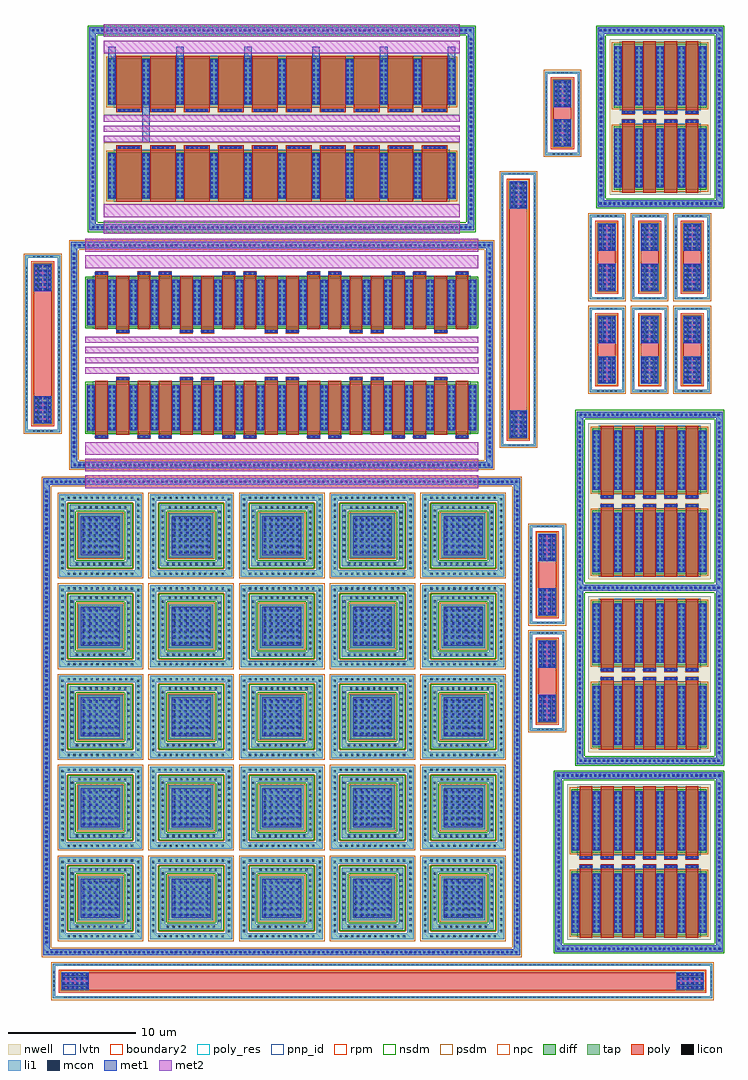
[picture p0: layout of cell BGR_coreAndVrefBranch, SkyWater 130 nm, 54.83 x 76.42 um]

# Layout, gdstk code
from math import pi, radians
import gdstk
lib = gdstk.Library(unit=1e-6, precision=5e-09)
def R(c, l, rs):  # rectangles x0, y0, x1, y1
    for r in rs: c.add(gdstk.rectangle(r[:2], r[2:], *l))
def A(c, l, x, y, w, h, nx, ny, dx, dy):  # array of equal rectangles
    R(c, l, [(x+i*dx, y+j*dy, x+i*dx+w, y+j*dy+h) for i in range(nx) for j in range(ny)])
def P(c, l, *ps):  # polygons
    for p in ps: c.add(gdstk.Polygon(p, *l))
nwell = (64, 20)
diff = (65, 20)
tap = (65, 44)
poly_res = (66, 13)
poly = (66, 20)
licon = (66, 44)
li1 = (67, 20)
mcon = (67, 44)
met1 = (68, 20)
met2 = (69, 20)
pnp_id = (82, 44)
rpm = (86, 20)
nsdm = (93, 44)
psdm = (94, 20)
npc = (95, 20)
lvtn = (125, 44)
boundary2 = (236, 0)

guard_ring_gen_12 = lib.new_cell('guard_ring_gen$12')
P(guard_ring_gen_12, tap, [(-0.5,-0.5),(-0.5,36.35),(0,36.35),(0,0),(36.35,0),(36.35,36.35),(-0.5,36.35),(-0.5,36.85),(36.85,36.85),(36.85,-0.5)])
A(guard_ring_gen_12, licon, -0.27, -0.335, 0.17, 0.17, 103, 2, 0.36, 36.85)
A(guard_ring_gen_12, licon, -0.335, 0.45, 0.17, 0.17, 1, 99, 0, 0.36)
A(guard_ring_gen_12, licon, 36.515, 0.45, 0.17, 0.17, 1, 99, 0, 0.36)
P(guard_ring_gen_12, li1, [(-0.5,-0.5),(-0.5,36.35),(0,36.35),(0,0),(36.35,0),(36.35,36.35),(-0.5,36.35),(-0.5,36.85),(36.85,36.85),(36.85,-0.5)])
A(guard_ring_gen_12, mcon, -0.27, -0.335, 0.17, 0.17, 103, 2, 0.36, 36.85)
A(guard_ring_gen_12, mcon, -0.335, 0.45, 0.17, 0.17, 1, 99, 0, 0.36)
A(guard_ring_gen_12, mcon, 36.515, 0.45, 0.17, 0.17, 1, 99, 0, 0.36)
P(guard_ring_gen_12, met1, [(-0.5,-0.5),(-0.5,36.35),(0,36.35),(0,0),(36.35,0),(36.35,36.35),(-0.5,36.35),(-0.5,36.85),(36.85,36.85),(36.85,-0.5)])
P(guard_ring_gen_12, psdm, [(-0.625,-0.625),(-0.625,36.225),(0.125,36.225),(0.125,0.125),(36.225,0.125),(36.225,36.225),(-0.625,36.225),(-0.625,36.975),(36.975,36.975),(36.975,-0.625)])

pfet = lib.new_cell('pfet')
R(pfet, nwell, [(-0.305,-0.38,2.625,5.72)])
R(pfet, diff, [(0,0,2.32,5)])
R(pfet, poly, [(0.66,-0.2,1.66,5.2), (0.66,5.2,1.66,5.53)])
A(pfet, licon, 0.065, 0.255, 0.17, 0.17, 1, 13, 0, 0.36)
A(pfet, licon, 0.425, 0.255, 0.17, 0.17, 1, 13, 0, 0.36)
A(pfet, licon, 1.725, 0.255, 0.17, 0.17, 1, 13, 0, 0.36)
A(pfet, licon, 2.085, 0.255, 0.17, 0.17, 1, 13, 0, 0.36)
A(pfet, licon, 0.715, 5.28, 0.17, 0.17, 3, 1, 0.36, 0)
R(pfet, li1, [(0.065,0.175,0.595,4.825), (1.725,0.175,2.255,4.825), (0.635,5.28,1.685,5.45)])
A(pfet, mcon, 0.065, 0.255, 0.17, 0.17, 1, 13, 0, 0.36)
A(pfet, mcon, 0.425, 0.255, 0.17, 0.17, 1, 13, 0, 0.36)
A(pfet, mcon, 1.725, 0.255, 0.17, 0.17, 1, 13, 0, 0.36)
A(pfet, mcon, 2.085, 0.255, 0.17, 0.17, 1, 13, 0, 0.36)
A(pfet, mcon, 0.715, 5.28, 0.17, 0.17, 3, 1, 0.36, 0)
R(pfet, met1, [(0.035,0.195,0.625,4.805), (1.695,0.195,2.285,4.805), (0.655,5.25,1.665,5.48)])
R(pfet, psdm, [(-0.125,-0.125,2.445,5.125)])
R(pfet, npc, [(0.65,5.19,1.67,5.54)])
R(pfet, lvtn, [(0.48,-0.18,1.84,5.18)])

res_poly_4 = lib.new_cell('res_poly$4')
R(res_poly_4, tap, [(-1.355,-25.81,1.355,-25.64), (-1.355,-25.64,-1.185,25.64), (1.185,-25.64,1.355,25.64), (-1.355,25.64,1.355,25.81)])
R(res_poly_4, poly_res, [(-0.705,-23.06,0.705,23.06)])
R(res_poly_4, poly, [(-0.705,-25.16,0.705,25.16)])
A(res_poly_4, licon, -0.765, -25.81, 0.17, 0.17, 5, 2, 0.34, 51.45)
A(res_poly_4, licon, -1.355, -24.905, 0.17, 0.17, 1, 147, 0, 0.34)
A(res_poly_4, licon, 1.185, -24.905, 0.17, 0.17, 1, 147, 0, 0.34)
R(res_poly_4, licon, [(-0.45,-25.08,-0.26,-23.08), (0.26,-25.08,0.45,-23.08), (-0.45,23.08,-0.26,25.08), (0.26,23.08,0.45,25.08)])
R(res_poly_4, li1, [(-1.355,-25.81,1.355,-25.64), (-1.355,-25.64,-1.185,25.64), (1.185,-25.64,1.355,25.64), (-0.705,-25.16,0.705,-23), (-0.705,23,0.705,25.16), (-1.355,25.64,1.355,25.81)])
A(res_poly_4, mcon, -0.625, -25.06, 0.17, 0.17, 4, 6, 0.36, 0.36)
A(res_poly_4, mcon, -0.625, 23.095, 0.17, 0.17, 4, 6, 0.36, 0.36)
R(res_poly_4, met1, [(-0.655,-25.13,0.655,-23.025), (-0.655,23.025,0.655,25.13)])
R(res_poly_4, rpm, [(-0.905,-25.36,0.905,25.36)])
R(res_poly_4, psdm, [(-1.48,-25.935,1.48,25.935)])
R(res_poly_4, npc, [(-0.8,-25.255,0.8,25.255)])

pfet_3 = lib.new_cell('pfet$3')
R(pfet_3, nwell, [(-0.305,-0.38,3.625,4.42)])
R(pfet_3, diff, [(0,0,3.32,3.7)])
R(pfet_3, poly, [(0.66,-0.2,2.66,3.9), (0.66,3.9,2.66,4.23)])
A(pfet_3, licon, 0.065, 0.145, 0.17, 0.17, 1, 10, 0, 0.36)
A(pfet_3, licon, 0.425, 0.145, 0.17, 0.17, 1, 10, 0, 0.36)
A(pfet_3, licon, 2.725, 0.145, 0.17, 0.17, 1, 10, 0, 0.36)
A(pfet_3, licon, 3.085, 0.145, 0.17, 0.17, 1, 10, 0, 0.36)
A(pfet_3, licon, 0.855, 3.98, 0.17, 0.17, 5, 1, 0.36, 0)
R(pfet_3, li1, [(0.065,0.065,0.595,3.635), (2.725,0.065,3.255,3.635), (0.775,3.98,2.545,4.15)])
A(pfet_3, mcon, 0.065, 0.145, 0.17, 0.17, 1, 10, 0, 0.36)
A(pfet_3, mcon, 0.425, 0.145, 0.17, 0.17, 1, 10, 0, 0.36)
A(pfet_3, mcon, 2.725, 0.145, 0.17, 0.17, 1, 10, 0, 0.36)
A(pfet_3, mcon, 3.085, 0.145, 0.17, 0.17, 1, 10, 0, 0.36)
A(pfet_3, mcon, 0.855, 3.98, 0.17, 0.17, 5, 1, 0.36, 0)
R(pfet_3, met1, [(0.035,0.085,0.625,3.615), (2.695,0.085,3.285,3.615), (0.795,3.95,2.525,4.18)])
R(pfet_3, psdm, [(-0.125,-0.125,3.445,3.825)])
R(pfet_3, npc, [(0.65,3.89,2.67,4.24)])
R(pfet_3, lvtn, [(0.48,-0.18,2.84,3.88)])

nfet = lib.new_cell('nfet')
R(nfet, diff, [(0,0,2.32,3.8)])
R(nfet, poly, [(0.66,-0.53,1.66,-0.2), (0.66,-0.2,1.66,4)])
A(nfet, licon, 0.715, -0.45, 0.17, 0.17, 3, 1, 0.36, 0)
A(nfet, licon, 0.065, 0.195, 0.17, 0.17, 1, 10, 0, 0.36)
A(nfet, licon, 0.425, 0.195, 0.17, 0.17, 1, 10, 0, 0.36)
A(nfet, licon, 1.725, 0.195, 0.17, 0.17, 1, 10, 0, 0.36)
A(nfet, licon, 2.085, 0.195, 0.17, 0.17, 1, 10, 0, 0.36)
R(nfet, li1, [(0.635,-0.45,1.685,-0.28), (0.065,0.115,0.595,3.685), (1.725,0.115,2.255,3.685)])
A(nfet, mcon, 0.715, -0.45, 0.17, 0.17, 3, 1, 0.36, 0)
A(nfet, mcon, 0.065, 0.195, 0.17, 0.17, 1, 10, 0, 0.36)
A(nfet, mcon, 0.425, 0.195, 0.17, 0.17, 1, 10, 0, 0.36)
A(nfet, mcon, 1.725, 0.195, 0.17, 0.17, 1, 10, 0, 0.36)
A(nfet, mcon, 2.085, 0.195, 0.17, 0.17, 1, 10, 0, 0.36)
R(nfet, met1, [(0.655,-0.48,1.665,-0.25), (0.035,0.135,0.625,3.665), (1.695,0.135,2.285,3.665)])
R(nfet, nsdm, [(-0.125,-0.125,2.445,3.925)])
R(nfet, npc, [(0.65,-0.54,1.67,-0.19)])
R(nfet, lvtn, [(0.48,-0.18,1.84,3.98)])

guard_ring_gen = lib.new_cell('guard_ring_gen')
P(guard_ring_gen, tap, [(-0.5,-0.5),(-0.5,14.915),(0,14.915),(0,0),(29.12,0),(29.12,14.915),(-0.5,14.915),(-0.5,15.415),(29.62,15.415),(29.62,-0.5)])
A(guard_ring_gen, licon, -0.285, -0.335, 0.17, 0.17, 83, 2, 0.36, 15.415)
A(guard_ring_gen, licon, -0.335, 0.355, 0.17, 0.17, 1, 40, 0, 0.36)
A(guard_ring_gen, licon, 29.285, 0.355, 0.17, 0.17, 1, 40, 0, 0.36)
P(guard_ring_gen, li1, [(-0.5,-0.5),(-0.5,14.915),(0,14.915),(0,0),(29.12,0),(29.12,14.915),(-0.5,14.915),(-0.5,15.415),(29.62,15.415),(29.62,-0.5)])
A(guard_ring_gen, mcon, -0.285, -0.335, 0.17, 0.17, 83, 2, 0.36, 15.415)
A(guard_ring_gen, mcon, -0.335, 0.355, 0.17, 0.17, 1, 40, 0, 0.36)
A(guard_ring_gen, mcon, 29.285, 0.355, 0.17, 0.17, 1, 40, 0, 0.36)
P(guard_ring_gen, met1, [(-0.5,-0.5),(-0.5,14.915),(0,14.915),(0,0),(29.12,0),(29.12,14.915),(-0.5,14.915),(-0.5,15.415),(29.62,15.415),(29.62,-0.5)])
P(guard_ring_gen, nsdm, [(-0.625,-0.625),(-0.625,14.79),(0.125,14.79),(0.125,0.125),(28.995,0.125),(28.995,14.79),(-0.625,14.79),(-0.625,15.54),(29.745,15.54),(29.745,-0.625)])

guard_ring_gen_11 = lib.new_cell('guard_ring_gen$11')
P(guard_ring_gen_11, tap, [(-0.5,-0.5),(-0.5,16.715),(0,16.715),(0,0),(32.04,0),(32.04,16.715),(-0.5,16.715),(-0.5,17.215),(32.54,17.215),(32.54,-0.5)])
A(guard_ring_gen_11, licon, -0.265, -0.335, 0.17, 0.17, 91, 2, 0.36, 17.215)
A(guard_ring_gen_11, licon, -0.335, 0.355, 0.17, 0.17, 1, 45, 0, 0.36)
A(guard_ring_gen_11, licon, 32.205, 0.355, 0.17, 0.17, 1, 45, 0, 0.36)
P(guard_ring_gen_11, li1, [(-0.5,-0.5),(-0.5,16.715),(0,16.715),(0,0),(32.04,0),(32.04,16.715),(-0.5,16.715),(-0.5,17.215),(32.54,17.215),(32.54,-0.5)])
A(guard_ring_gen_11, mcon, -0.265, -0.335, 0.17, 0.17, 91, 2, 0.36, 17.215)
A(guard_ring_gen_11, mcon, -0.335, 0.355, 0.17, 0.17, 1, 45, 0, 0.36)
A(guard_ring_gen_11, mcon, 32.205, 0.355, 0.17, 0.17, 1, 45, 0, 0.36)
P(guard_ring_gen_11, met1, [(-0.5,-0.5),(-0.5,16.715),(0,16.715),(0,0),(32.04,0),(32.04,16.715),(-0.5,16.715),(-0.5,17.215),(32.54,17.215),(32.54,-0.5)])
P(guard_ring_gen_11, psdm, [(-0.625,-0.625),(-0.625,16.59),(0.125,16.59),(0.125,0.125),(31.915,0.125),(31.915,16.59),(-0.625,16.59),(-0.625,17.34),(32.665,17.34),(32.665,-0.625)])

pnp_bjt = lib.new_cell('pnp_bjt')
R(pnp_bjt, nwell, [(0.765,0.765,5.935,5.935)])
R(pnp_bjt, diff, [(1.65,1.65,5.05,5.05)])
P(pnp_bjt, tap, [(0.945,0.945),(0.945,5.755),(5.395,5.755),(5.395,5.395),(1.305,5.395),(1.305,1.305),(5.395,1.305),(5.395,5.755),(5.755,5.755),(5.755,0.945)],
  [(0.13,0.13),(0.13,6.57),(6.065,6.57),(6.065,6.065),(0.635,6.065),(0.635,0.635),(6.065,0.635),(6.065,6.57),(6.57,6.57),(6.57,0.13)])
A(pnp_bjt, licon, 0.78, 0.29, 0.17, 0.17, 12, 2, 0.45, 5.935)
A(pnp_bjt, licon, 0.3, 0.71, 0.17, 0.17, 1, 13, 0, 0.45)
A(pnp_bjt, licon, 6.235, 0.71, 0.17, 0.17, 1, 13, 0, 0.45)
A(pnp_bjt, licon, 1.43, 1.04, 0.17, 0.17, 9, 1, 0.45, 0)
A(pnp_bjt, licon, 5.49, 1.51, 0.17, 0.17, 1, 9, 0, 0.45)
A(pnp_bjt, licon, 1.04, 1.605, 0.17, 0.17, 1, 9, 0, 0.45)
A(pnp_bjt, licon, 1.92, 1.92, 0.17, 0.17, 7, 7, 0.45, 0.45)
A(pnp_bjt, licon, 1.6, 5.49, 0.17, 0.17, 9, 1, 0.45, 0)
A(pnp_bjt, li1, 0.58, 0.21, 0.33, 0.33, 12, 1, 0.45, 0)
A(pnp_bjt, li1, 0.675, 0.24, 0.27, 0.27, 11, 2, 0.5, 5.96)
A(pnp_bjt, li1, 6.16, 0.54, 0.33, 0.33, 1, 13, 0, 0.45)
A(pnp_bjt, li1, 0.22, 0.63, 0.33, 0.33, 1, 13, 0, 0.45)
A(pnp_bjt, li1, 1.35, 0.96, 0.33, 0.33, 9, 1, 0.45, 0)
A(pnp_bjt, li1, 1.14, 0.985, 0.27, 0.27, 9, 1, 0.5, 0)
A(pnp_bjt, li1, 5.41, 1.43, 0.33, 0.33, 1, 9, 0, 0.45)
A(pnp_bjt, li1, 0.96, 1.525, 0.33, 0.33, 1, 9, 0, 0.45)
A(pnp_bjt, li1, 1.84, 1.84, 0.33, 0.33, 7, 7, 0.45, 0.45)
A(pnp_bjt, li1, 1.93, 1.93, 0.27, 0.27, 6, 6, 0.5, 0.5)
A(pnp_bjt, li1, 1.52, 5.41, 0.33, 0.33, 9, 1, 0.45, 0)
A(pnp_bjt, li1, 1.155, 5.44, 0.27, 0.27, 9, 1, 0.5, 0)
A(pnp_bjt, li1, 0.7, 6.165, 0.33, 0.33, 12, 1, 0.45, 0)
R(pnp_bjt, li1, [(1.615,1.615,5.085,5.085), (1.65,1.65,5.05,5.05)])
P(pnp_bjt, li1, [(0.13,0.13),(0.13,6.57),(6.075,6.57),(6.075,6.075),(0.625,6.075),(0.625,0.625),(6.075,0.625),(6.075,6.57),(6.57,6.57),(6.57,0.13)],
  [(0.945,0.945),(0.945,5.755),(5.395,5.755),(5.395,5.395),(1.305,5.395),(1.305,1.305),(5.395,1.305),(5.395,5.755),(5.755,5.755),(5.755,0.945)])
A(pnp_bjt, mcon, 1.98, 1.98, 0.17, 0.17, 6, 6, 0.5, 0.5)
A(pnp_bjt, met1, 1.93, 1.93, 0.27, 0.27, 6, 6, 0.5, 0.5)
R(pnp_bjt, met1, [(1.825,1.825,4.875,4.875)])
R(pnp_bjt, pnp_id, [(0.135,0.135,6.565,6.565)])
P(pnp_bjt, nsdm, [(0.805,0.805),(0.805,5.895),(5.265,5.895),(5.265,5.265),(1.435,5.265),(1.435,1.435),(5.265,1.435),(5.265,5.895),(5.895,5.895),(5.895,0.805)])
R(pnp_bjt, psdm, [(1.52,1.52,5.18,5.18)])
P(pnp_bjt, psdm, [(0,0),(0,6.7),(5.935,6.7),(5.935,5.935),(0.765,5.935),(0.765,0.765),(5.935,0.765),(5.935,6.7),(6.7,6.7),(6.7,0)])
R(pnp_bjt, boundary2, [(0.13,0.13,6.57,6.57)])
pnp_bjt.add(gdstk.Label('Emitter', (3.39,3.39), layer=67, texttype=5))
pnp_bjt.add(gdstk.Label('Collector', (3.32,6.38), layer=67, texttype=5))
pnp_bjt.add(gdstk.Label('Base', (3.245,5.61), layer=67, texttype=5))

guard_ring_gen_3 = lib.new_cell('guard_ring_gen$3')
P(guard_ring_gen_3, tap, [(-0.5,-0.5),(-0.5,13.05),(0,13.05),(0,0),(10.42,0),(10.42,13.05),(-0.5,13.05),(-0.5,13.55),(10.92,13.55),(10.92,-0.5)])
A(guard_ring_gen_3, licon, -0.275, -0.335, 0.17, 0.17, 31, 2, 0.36, 13.55)
A(guard_ring_gen_3, licon, -0.335, 0.32, 0.17, 0.17, 1, 35, 0, 0.36)
A(guard_ring_gen_3, licon, 10.585, 0.32, 0.17, 0.17, 1, 35, 0, 0.36)
P(guard_ring_gen_3, li1, [(-0.5,-0.5),(-0.5,13.05),(0,13.05),(0,0),(10.42,0),(10.42,13.05),(-0.5,13.05),(-0.5,13.55),(10.92,13.55),(10.92,-0.5)])
A(guard_ring_gen_3, mcon, -0.275, -0.335, 0.17, 0.17, 31, 2, 0.36, 13.55)
A(guard_ring_gen_3, mcon, -0.335, 0.32, 0.17, 0.17, 1, 35, 0, 0.36)
A(guard_ring_gen_3, mcon, 10.585, 0.32, 0.17, 0.17, 1, 35, 0, 0.36)
P(guard_ring_gen_3, met1, [(-0.5,-0.5),(-0.5,13.05),(0,13.05),(0,0),(10.42,0),(10.42,13.05),(-0.5,13.05),(-0.5,13.55),(10.92,13.55),(10.92,-0.5)])
P(guard_ring_gen_3, nsdm, [(-0.625,-0.625),(-0.625,12.925),(0.125,12.925),(0.125,0.125),(10.295,0.125),(10.295,12.925),(-0.625,12.925),(-0.625,13.675),(11.045,13.675),(11.045,-0.625)])

res_poly_13 = lib.new_cell('res_poly$13')
R(res_poly_13, tap, [(-1.355,-10.71,1.355,-10.54), (-1.355,-10.54,-1.185,10.54), (1.185,-10.54,1.355,10.54), (-1.355,10.54,1.355,10.71)])
R(res_poly_13, poly_res, [(-0.705,-7.96,0.705,7.96)])
R(res_poly_13, poly, [(-0.705,-10.06,0.705,10.06)])
A(res_poly_13, licon, -0.765, -10.71, 0.17, 0.17, 5, 2, 0.34, 21.25)
A(res_poly_13, licon, -1.355, -9.945, 0.17, 0.17, 1, 59, 0, 0.34)
A(res_poly_13, licon, 1.185, -9.945, 0.17, 0.17, 1, 59, 0, 0.34)
R(res_poly_13, licon, [(-0.45,-9.98,-0.26,-7.98), (0.26,-9.98,0.45,-7.98), (-0.45,7.98,-0.26,9.98), (0.26,7.98,0.45,9.98)])
R(res_poly_13, li1, [(-1.355,-10.71,1.355,-10.54), (-1.355,-10.54,-1.185,10.54), (1.185,-10.54,1.355,10.54), (-0.705,-10.06,0.705,-7.9), (-0.705,7.9,0.705,10.06), (-1.355,10.54,1.355,10.71)])
A(res_poly_13, mcon, -0.625, -9.96, 0.17, 0.17, 4, 6, 0.36, 0.36)
A(res_poly_13, mcon, -0.625, 7.995, 0.17, 0.17, 4, 6, 0.36, 0.36)
R(res_poly_13, met1, [(-0.655,-10.03,0.655,-7.925), (-0.655,7.925,0.655,10.03)])
R(res_poly_13, rpm, [(-0.905,-10.26,0.905,10.26)])
R(res_poly_13, psdm, [(-1.48,-10.835,1.48,10.835)])
R(res_poly_13, npc, [(-0.8,-10.155,0.8,10.155)])

nfet_1 = lib.new_cell('nfet$1')
R(nfet_1, diff, [(0,0,2.32,3.8)])
R(nfet_1, poly, [(0.66,-0.2,1.66,4), (0.66,4,1.66,4.33)])
A(nfet_1, licon, 0.065, 0.195, 0.17, 0.17, 1, 10, 0, 0.36)
A(nfet_1, licon, 0.425, 0.195, 0.17, 0.17, 1, 10, 0, 0.36)
A(nfet_1, licon, 1.725, 0.195, 0.17, 0.17, 1, 10, 0, 0.36)
A(nfet_1, licon, 2.085, 0.195, 0.17, 0.17, 1, 10, 0, 0.36)
A(nfet_1, licon, 0.715, 4.08, 0.17, 0.17, 3, 1, 0.36, 0)
R(nfet_1, li1, [(0.065,0.115,0.595,3.685), (1.725,0.115,2.255,3.685), (0.635,4.08,1.685,4.25)])
A(nfet_1, mcon, 0.065, 0.195, 0.17, 0.17, 1, 10, 0, 0.36)
A(nfet_1, mcon, 0.425, 0.195, 0.17, 0.17, 1, 10, 0, 0.36)
A(nfet_1, mcon, 1.725, 0.195, 0.17, 0.17, 1, 10, 0, 0.36)
A(nfet_1, mcon, 2.085, 0.195, 0.17, 0.17, 1, 10, 0, 0.36)
A(nfet_1, mcon, 0.715, 4.08, 0.17, 0.17, 3, 1, 0.36, 0)
R(nfet_1, met1, [(0.035,0.135,0.625,3.665), (1.695,0.135,2.285,3.665), (0.655,4.05,1.665,4.28)])
R(nfet_1, nsdm, [(-0.125,-0.125,2.445,3.925)])
R(nfet_1, npc, [(0.65,3.99,1.67,4.34)])
R(nfet_1, lvtn, [(0.48,-0.18,1.84,3.98)])

res_poly = lib.new_cell('res_poly')
R(res_poly, tap, [(-1.355,-3.27,1.355,-3.1), (-1.355,-3.1,-1.185,3.1), (1.185,-3.1,1.355,3.1), (-1.355,3.1,1.355,3.27)])
R(res_poly, poly_res, [(-0.705,-0.52,0.705,0.52)])
R(res_poly, poly, [(-0.705,-2.62,0.705,2.62)])
A(res_poly, licon, -0.765, -3.27, 0.17, 0.17, 5, 2, 0.34, 6.37)
A(res_poly, licon, -1.355, -2.465, 0.17, 0.17, 1, 15, 0, 0.34)
A(res_poly, licon, 1.185, -2.465, 0.17, 0.17, 1, 15, 0, 0.34)
R(res_poly, licon, [(-0.45,-2.54,-0.26,-0.54), (0.26,-2.54,0.45,-0.54), (-0.45,0.54,-0.26,2.54), (0.26,0.54,0.45,2.54)])
R(res_poly, li1, [(-1.355,-3.27,1.355,-3.1), (-1.355,-3.1,-1.185,3.1), (1.185,-3.1,1.355,3.1), (-0.705,-2.62,0.705,-0.46), (-0.705,0.46,0.705,2.62), (-1.355,3.1,1.355,3.27)])
A(res_poly, mcon, -0.625, -2.52, 0.17, 0.17, 4, 6, 0.36, 0.36)
A(res_poly, mcon, -0.625, 0.555, 0.17, 0.17, 4, 6, 0.36, 0.36)
R(res_poly, met1, [(-0.655,-2.59,0.655,-0.485), (-0.655,0.485,0.655,2.59)])
R(res_poly, rpm, [(-0.905,-2.82,0.905,2.82)])
R(res_poly, psdm, [(-1.48,-3.395,1.48,3.395)])
R(res_poly, npc, [(-0.8,-2.715,0.8,2.715)])

guard_ring_gen_1 = lib.new_cell('guard_ring_gen$1')
P(guard_ring_gen_1, tap, [(-0.5,-0.5),(-0.5,13.05),(0,13.05),(0,0),(8.76,0),(8.76,13.05),(-0.5,13.05),(-0.5,13.55),(9.26,13.55),(9.26,-0.5)])
A(guard_ring_gen_1, licon, -0.385, -0.335, 0.17, 0.17, 27, 2, 0.36, 13.55)
A(guard_ring_gen_1, licon, -0.335, 0.32, 0.17, 0.17, 1, 35, 0, 0.36)
A(guard_ring_gen_1, licon, 8.925, 0.32, 0.17, 0.17, 1, 35, 0, 0.36)
P(guard_ring_gen_1, li1, [(-0.5,-0.5),(-0.5,13.05),(0,13.05),(0,0),(8.76,0),(8.76,13.05),(-0.5,13.05),(-0.5,13.55),(9.26,13.55),(9.26,-0.5)])
A(guard_ring_gen_1, mcon, -0.385, -0.335, 0.17, 0.17, 27, 2, 0.36, 13.55)
A(guard_ring_gen_1, mcon, -0.335, 0.32, 0.17, 0.17, 1, 35, 0, 0.36)
A(guard_ring_gen_1, mcon, 8.925, 0.32, 0.17, 0.17, 1, 35, 0, 0.36)
P(guard_ring_gen_1, met1, [(-0.5,-0.5),(-0.5,13.05),(0,13.05),(0,0),(8.76,0),(8.76,13.05),(-0.5,13.05),(-0.5,13.55),(9.26,13.55),(9.26,-0.5)])
P(guard_ring_gen_1, nsdm, [(-0.625,-0.625),(-0.625,12.925),(0.125,12.925),(0.125,0.125),(8.635,0.125),(8.635,12.925),(-0.625,12.925),(-0.625,13.675),(9.385,13.675),(9.385,-0.625)])

res_poly_1 = lib.new_cell('res_poly$1')
R(res_poly_1, tap, [(-1.355,-3.31,1.355,-3.14), (-1.355,-3.14,-1.185,3.14), (1.185,-3.14,1.355,3.14), (-1.355,3.14,1.355,3.31)])
R(res_poly_1, poly_res, [(-0.705,-0.56,0.705,0.56)])
R(res_poly_1, poly, [(-0.705,-2.66,0.705,2.66)])
A(res_poly_1, licon, -0.765, -3.31, 0.17, 0.17, 5, 2, 0.34, 6.45)
A(res_poly_1, licon, -1.355, -2.465, 0.17, 0.17, 1, 15, 0, 0.34)
A(res_poly_1, licon, 1.185, -2.465, 0.17, 0.17, 1, 15, 0, 0.34)
R(res_poly_1, licon, [(-0.45,-2.58,-0.26,-0.58), (0.26,-2.58,0.45,-0.58), (-0.45,0.58,-0.26,2.58), (0.26,0.58,0.45,2.58)])
R(res_poly_1, li1, [(-1.355,-3.31,1.355,-3.14), (-1.355,-3.14,-1.185,3.14), (1.185,-3.14,1.355,3.14), (-0.705,-2.66,0.705,-0.5), (-0.705,0.5,0.705,2.66), (-1.355,3.14,1.355,3.31)])
A(res_poly_1, mcon, -0.625, -2.56, 0.17, 0.17, 4, 6, 0.36, 0.36)
A(res_poly_1, mcon, -0.625, 0.595, 0.17, 0.17, 4, 6, 0.36, 0.36)
R(res_poly_1, met1, [(-0.655,-2.63,0.655,-0.525), (-0.655,0.525,0.655,2.63)])
R(res_poly_1, rpm, [(-0.905,-2.86,0.905,2.86)])
R(res_poly_1, psdm, [(-1.48,-3.435,1.48,3.435)])
R(res_poly_1, npc, [(-0.8,-2.755,0.8,2.755)])

res_poly_12 = lib.new_cell('res_poly$12')
R(res_poly_12, tap, [(-1.355,-6.91,1.355,-6.74), (-1.355,-6.74,-1.185,6.74), (1.185,-6.74,1.355,6.74), (-1.355,6.74,1.355,6.91)])
R(res_poly_12, poly_res, [(-0.705,-4.16,0.705,4.16)])
R(res_poly_12, poly, [(-0.705,-6.26,0.705,6.26)])
A(res_poly_12, licon, -0.765, -6.91, 0.17, 0.17, 5, 2, 0.34, 13.65)
A(res_poly_12, licon, -1.355, -6.035, 0.17, 0.17, 1, 36, 0, 0.34)
A(res_poly_12, licon, 1.185, -6.035, 0.17, 0.17, 1, 36, 0, 0.34)
R(res_poly_12, licon, [(-0.45,-6.18,-0.26,-4.18), (0.26,-6.18,0.45,-4.18), (-0.45,4.18,-0.26,6.18), (0.26,4.18,0.45,6.18)])
R(res_poly_12, li1, [(-1.355,-6.91,1.355,-6.74), (-1.355,-6.74,-1.185,6.74), (1.185,-6.74,1.355,6.74), (-0.705,-6.26,0.705,-4.1), (-0.705,4.1,0.705,6.26), (-1.355,6.74,1.355,6.91)])
A(res_poly_12, mcon, -0.625, -6.16, 0.17, 0.17, 4, 6, 0.36, 0.36)
A(res_poly_12, mcon, -0.625, 4.195, 0.17, 0.17, 4, 6, 0.36, 0.36)
R(res_poly_12, met1, [(-0.655,-6.23,0.655,-4.125), (-0.655,4.125,0.655,6.23)])
R(res_poly_12, rpm, [(-0.905,-6.46,0.905,6.46)])
R(res_poly_12, psdm, [(-1.48,-7.035,1.48,7.035)])
R(res_poly_12, npc, [(-0.8,-6.355,0.8,6.355)])

res_poly_2 = lib.new_cell('res_poly$2')
R(res_poly_2, tap, [(-1.355,-3.86,1.355,-3.69), (-1.355,-3.69,-1.185,3.69), (1.185,-3.69,1.355,3.69), (-1.355,3.69,1.355,3.86)])
R(res_poly_2, poly_res, [(-0.705,-1.11,0.705,1.11)])
R(res_poly_2, poly, [(-0.705,-3.21,0.705,3.21)])
A(res_poly_2, licon, -0.765, -3.86, 0.17, 0.17, 5, 2, 0.34, 7.55)
A(res_poly_2, licon, -1.355, -2.975, 0.17, 0.17, 1, 18, 0, 0.34)
A(res_poly_2, licon, 1.185, -2.975, 0.17, 0.17, 1, 18, 0, 0.34)
R(res_poly_2, licon, [(-0.45,-3.13,-0.26,-1.13), (0.26,-3.13,0.45,-1.13), (-0.45,1.13,-0.26,3.13), (0.26,1.13,0.45,3.13)])
R(res_poly_2, li1, [(-1.355,-3.86,1.355,-3.69), (-1.355,-3.69,-1.185,3.69), (1.185,-3.69,1.355,3.69), (-0.705,-3.21,0.705,-1.05), (-0.705,1.05,0.705,3.21), (-1.355,3.69,1.355,3.86)])
A(res_poly_2, mcon, -0.625, -3.11, 0.17, 0.17, 4, 6, 0.36, 0.36)
A(res_poly_2, mcon, -0.625, 1.145, 0.17, 0.17, 4, 6, 0.36, 0.36)
R(res_poly_2, met1, [(-0.655,-3.18,0.655,-1.075), (-0.655,1.075,0.655,3.18)])
R(res_poly_2, rpm, [(-0.905,-3.41,0.905,3.41)])
R(res_poly_2, psdm, [(-1.48,-3.985,1.48,3.985)])
R(res_poly_2, npc, [(-0.8,-3.305,0.8,3.305)])

guard_ring_gen_2 = lib.new_cell('guard_ring_gen$2')
P(guard_ring_gen_2, tap, [(-0.5,-0.5),(-0.5,13.05),(0,13.05),(0,0),(12.08,0),(12.08,13.05),(-0.5,13.05),(-0.5,13.55),(12.58,13.55),(12.58,-0.5)])
A(guard_ring_gen_2, licon, -0.345, -0.335, 0.17, 0.17, 36, 2, 0.36, 13.55)
A(guard_ring_gen_2, licon, -0.335, 0.32, 0.17, 0.17, 1, 35, 0, 0.36)
A(guard_ring_gen_2, licon, 12.245, 0.32, 0.17, 0.17, 1, 35, 0, 0.36)
P(guard_ring_gen_2, li1, [(-0.5,-0.5),(-0.5,13.05),(0,13.05),(0,0),(12.08,0),(12.08,13.05),(-0.5,13.05),(-0.5,13.55),(12.58,13.55),(12.58,-0.5)])
A(guard_ring_gen_2, mcon, -0.345, -0.335, 0.17, 0.17, 36, 2, 0.36, 13.55)
A(guard_ring_gen_2, mcon, -0.335, 0.32, 0.17, 0.17, 1, 35, 0, 0.36)
A(guard_ring_gen_2, mcon, 12.245, 0.32, 0.17, 0.17, 1, 35, 0, 0.36)
P(guard_ring_gen_2, met1, [(-0.5,-0.5),(-0.5,13.05),(0,13.05),(0,0),(12.08,0),(12.08,13.05),(-0.5,13.05),(-0.5,13.55),(12.58,13.55),(12.58,-0.5)])
P(guard_ring_gen_2, nsdm, [(-0.625,-0.625),(-0.625,12.925),(0.125,12.925),(0.125,0.125),(11.955,0.125),(11.955,12.925),(-0.625,12.925),(-0.625,13.675),(12.705,13.675),(12.705,-0.625)])

bgr_coreandvrefbranch = lib.new_cell('BGR_coreAndVrefBranch')
R(bgr_coreandvrefbranch, lvtn, [(104.705,118.815,114.365,124.175), (108.025,118.815,114.365,124.175), (104.705,125.255,114.365,130.615), (106.365,133.515,114.365,138.875), (108.025,133.515,114.365,138.875), (106.365,139.955,114.365,145.315), (106.365,147.065,114.365,152.425), (108.025,147.065,114.365,152.425), (106.365,153.505,114.365,158.865), (66.78,158.2,96.36,162.36), (66.78,166.455,96.36,170.615), (68.42,176.415,94.72,180.475), (108.025,177.155,114.365,182.515), (108.025,183.595,114.365,188.955), (68.42,183.77,94.72,187.83)])
bgr_coreandvrefbranch.add(gdstk.FlexPath([(68.27,184.035),(68.27,188.53)], 0.59, ends="flush", simple_path=True, layer=68, datatype=20))  # met1
bgr_coreandvrefbranch.add(gdstk.FlexPath([(70.93,187.565),(70.93,181.075)], 0.59, ends="flush", simple_path=True, layer=68, datatype=20))  # met1
bgr_coreandvrefbranch.add(gdstk.FlexPath([(73.59,184.035),(73.59,188.53)], 0.59, ends="flush", simple_path=True, layer=68, datatype=20))  # met1
bgr_coreandvrefbranch.add(gdstk.FlexPath([(78.91,184.035),(78.91,188.53)], 0.59, ends="flush", simple_path=True, layer=68, datatype=20))  # met1
bgr_coreandvrefbranch.add(gdstk.FlexPath([(84.23,184.035),(84.23,188.53)], 0.59, ends="flush", simple_path=True, layer=68, datatype=20))  # met1
bgr_coreandvrefbranch.add(gdstk.FlexPath([(89.55,184.035),(89.55,188.53)], 0.59, ends="flush", simple_path=True, layer=68, datatype=20))  # met1
bgr_coreandvrefbranch.add(gdstk.FlexPath([(94.87,184.035),(94.87,188.53)], 0.59, ends="flush", simple_path=True, layer=68, datatype=20))  # met1
bgr_coreandvrefbranch.add(gdstk.FlexPath([(96.955,171.715),(66.175,171.715)], 1, ends="flush", simple_path=True, layer=69, datatype=20))  # met2
bgr_coreandvrefbranch.add(gdstk.FlexPath([(96.965,165.605),(66.175,165.605)], 0.5, ends="flush", simple_path=True, layer=69, datatype=20))  # met2
bgr_coreandvrefbranch.add(gdstk.FlexPath([(96.965,164.805),(66.165,164.805)], 0.5, ends="flush", simple_path=True, layer=69, datatype=20))  # met2
bgr_coreandvrefbranch.add(gdstk.FlexPath([(96.965,164.005),(66.165,164.005)], 0.5, ends="flush", simple_path=True, layer=69, datatype=20))  # met2
bgr_coreandvrefbranch.add(gdstk.FlexPath([(96.975,163.21),(66.165,163.21)], 0.5, ends="flush", simple_path=True, layer=69, datatype=20))  # met2
bgr_coreandvrefbranch.add(gdstk.FlexPath([(96.965,157.1),(66.175,157.1)], 1, ends="flush", simple_path=True, layer=69, datatype=20))  # met2
bgr_coreandvrefbranch.add(gdstk.FlexPath([(96.955,173.015),(66.175,173.015)], 1, ends="flush", simple_path=True, layer=69, datatype=20))  # met2
bgr_coreandvrefbranch.add(gdstk.FlexPath([(96.965,155.8),(66.175,155.8)], 1, ends="flush", simple_path=True, layer=69, datatype=20))  # met2
bgr_coreandvrefbranch.add(gdstk.FlexPath([(96.965,154.5),(66.175,154.5)], 1, ends="flush", simple_path=True, layer=69, datatype=20))  # met2
bgr_coreandvrefbranch.add(gdstk.FlexPath([(95.505,182.925),(67.635,182.925)], 0.5, ends="flush", simple_path=True, layer=69, datatype=20))  # met2
bgr_coreandvrefbranch.add(gdstk.FlexPath([(95.505,182.125),(67.635,182.125)], 0.5, ends="flush", simple_path=True, layer=69, datatype=20))  # met2
bgr_coreandvrefbranch.add(gdstk.FlexPath([(95.505,175.715),(67.635,175.715)], 1, ends="flush", simple_path=True, layer=69, datatype=20))  # met2
bgr_coreandvrefbranch.add(gdstk.FlexPath([(95.505,181.325),(67.635,181.325)], 0.5, ends="flush", simple_path=True, layer=69, datatype=20))  # met2
bgr_coreandvrefbranch.add(gdstk.FlexPath([(95.505,174.415),(67.635,174.415)], 1, ends="flush", simple_path=True, layer=69, datatype=20))  # met2
bgr_coreandvrefbranch.add(gdstk.FlexPath([(95.505,188.53),(67.635,188.53)], 1, ends="flush", simple_path=True, layer=69, datatype=20))  # met2
bgr_coreandvrefbranch.add(gdstk.FlexPath([(95.505,189.83),(67.635,189.83)], 1, ends="flush", simple_path=True, layer=69, datatype=20))  # met2
bgr_coreandvrefbranch.add(gdstk.Reference(guard_ring_gen_12, (63.395,117.9)))
bgr_coreandvrefbranch.add(gdstk.Reference(pfet, (114.845,147.245), rotation=pi, x_reflection=True))
bgr_coreandvrefbranch.add(gdstk.Reference(pfet, (109.865,147.245), rotation=pi, x_reflection=True))
bgr_coreandvrefbranch.add(gdstk.Reference(pfet, (108.205,147.245), rotation=pi, x_reflection=True))
bgr_coreandvrefbranch.add(gdstk.Reference(pfet, (113.185,147.245), rotation=pi, x_reflection=True))
bgr_coreandvrefbranch.add(gdstk.Reference(pfet, (111.525,147.245), rotation=pi, x_reflection=True))
bgr_coreandvrefbranch.add(gdstk.Reference(res_poly_4, (89.46,115.395), rotation=3*pi/2))
bgr_coreandvrefbranch.add(gdstk.Reference(pfet_3, (86.56,176.595)))
bgr_coreandvrefbranch.add(gdstk.Reference(pfet_3, (86.56,187.65), x_reflection=True))
bgr_coreandvrefbranch.add(gdstk.Reference(nfet, (87.88,166.635)))
bgr_coreandvrefbranch.add(gdstk.Reference(guard_ring_gen, (67.01,174.665)))
bgr_coreandvrefbranch.add(gdstk.Reference(nfet, (87.88,162.18), x_reflection=True))
bgr_coreandvrefbranch.add(gdstk.Reference(guard_ring_gen_11, (65.55,156.05)))
bgr_coreandvrefbranch.add(gdstk.Reference(pnp_bjt, (64.02,146.925)))
bgr_coreandvrefbranch.add(gdstk.Reference(pnp_bjt, (71.12,146.925)))
bgr_coreandvrefbranch.add(gdstk.Reference(pnp_bjt, (78.22,146.925)))
bgr_coreandvrefbranch.add(gdstk.Reference(pnp_bjt, (85.32,146.925)))
bgr_coreandvrefbranch.add(gdstk.Reference(pnp_bjt, (92.42,146.925)))
bgr_coreandvrefbranch.add(gdstk.Reference(pnp_bjt, (85.32,132.725)))
bgr_coreandvrefbranch.add(gdstk.Reference(pnp_bjt, (85.32,125.625)))
bgr_coreandvrefbranch.add(gdstk.Reference(pnp_bjt, (85.32,139.825)))
bgr_coreandvrefbranch.add(gdstk.Reference(pnp_bjt, (85.32,118.525)))
bgr_coreandvrefbranch.add(gdstk.Reference(guard_ring_gen_3, (105.155,146.44)))
bgr_coreandvrefbranch.add(gdstk.Reference(res_poly_13, (100.095,167.97)))
bgr_coreandvrefbranch.add(gdstk.Reference(pfet_3, (91.88,176.595)))
bgr_coreandvrefbranch.add(gdstk.Reference(pfet_3, (91.88,187.65), x_reflection=True))
bgr_coreandvrefbranch.add(gdstk.Reference(pfet, (109.865,177.335), rotation=pi, x_reflection=True))
bgr_coreandvrefbranch.add(gdstk.Reference(pfet, (108.205,158.685), rotation=pi))
bgr_coreandvrefbranch.add(gdstk.Reference(pfet_3, (89.22,187.65), x_reflection=True))
bgr_coreandvrefbranch.add(gdstk.Reference(pfet, (111.525,177.335), rotation=pi, x_reflection=True))
bgr_coreandvrefbranch.add(gdstk.Reference(nfet_1, (89.54,166.635)))
bgr_coreandvrefbranch.add(gdstk.Reference(pfet_3, (89.22,176.595)))
bgr_coreandvrefbranch.add(gdstk.Reference(res_poly, (103.545,183.34)))
bgr_coreandvrefbranch.add(gdstk.Reference(nfet, (92.86,166.635)))
bgr_coreandvrefbranch.add(gdstk.Reference(nfet_1, (94.52,166.635)))
bgr_coreandvrefbranch.add(gdstk.Reference(nfet_1, (91.2,166.635)))
bgr_coreandvrefbranch.add(gdstk.Reference(pfet, (114.845,177.335), rotation=pi, x_reflection=True))
bgr_coreandvrefbranch.add(gdstk.Reference(nfet_1, (89.54,162.18), x_reflection=True))
bgr_coreandvrefbranch.add(gdstk.Reference(nfet, (92.86,162.18), x_reflection=True))
bgr_coreandvrefbranch.add(gdstk.Reference(nfet_1, (94.52,162.18), x_reflection=True))
bgr_coreandvrefbranch.add(gdstk.Reference(nfet_1, (91.2,162.18), x_reflection=True))
bgr_coreandvrefbranch.add(gdstk.Reference(pfet, (111.525,158.685), rotation=pi))
bgr_coreandvrefbranch.add(gdstk.Reference(pfet, (113.185,177.335), rotation=pi, x_reflection=True))
bgr_coreandvrefbranch.add(gdstk.Reference(pfet, (113.185,158.685), rotation=pi))
bgr_coreandvrefbranch.add(gdstk.Reference(pfet, (114.845,188.775), rotation=pi))
bgr_coreandvrefbranch.add(gdstk.Reference(pfet, (114.845,158.685), rotation=pi))
bgr_coreandvrefbranch.add(gdstk.Reference(pfet, (113.185,188.775), rotation=pi))
bgr_coreandvrefbranch.add(gdstk.Reference(pfet, (111.525,188.775), rotation=pi))
bgr_coreandvrefbranch.add(gdstk.Reference(guard_ring_gen_1, (106.815,176.53)))
bgr_coreandvrefbranch.add(gdstk.Reference(pfet, (109.865,188.775), rotation=pi))
bgr_coreandvrefbranch.add(gdstk.Reference(pfet, (109.865,158.685), rotation=pi))
bgr_coreandvrefbranch.add(gdstk.Reference(res_poly_1, (110.365,172.07)))
bgr_coreandvrefbranch.add(gdstk.Reference(res_poly_1, (107.025,164.82)))
bgr_coreandvrefbranch.add(gdstk.Reference(res_poly_1, (113.705,164.82)))
bgr_coreandvrefbranch.add(gdstk.Reference(res_poly_1, (110.365,164.82)))
bgr_coreandvrefbranch.add(gdstk.Reference(res_poly_1, (107.025,172.07)))
bgr_coreandvrefbranch.add(gdstk.Reference(res_poly_1, (113.705,172.07)))
bgr_coreandvrefbranch.add(gdstk.Reference(pfet_3, (70.6,176.595)))
bgr_coreandvrefbranch.add(gdstk.Reference(pfet_3, (67.94,176.595)))
bgr_coreandvrefbranch.add(gdstk.Reference(pfet_3, (70.6,187.65), x_reflection=True))
bgr_coreandvrefbranch.add(gdstk.Reference(pfet_3, (67.94,187.65), x_reflection=True))
bgr_coreandvrefbranch.add(gdstk.Reference(nfet_1, (71.28,166.635)))
bgr_coreandvrefbranch.add(gdstk.Reference(nfet, (72.94,166.635)))
bgr_coreandvrefbranch.add(gdstk.Reference(nfet, (67.96,166.635)))
bgr_coreandvrefbranch.add(gdstk.Reference(nfet, (67.96,162.18), x_reflection=True))
bgr_coreandvrefbranch.add(gdstk.Reference(nfet_1, (66.3,162.18), x_reflection=True))
bgr_coreandvrefbranch.add(gdstk.Reference(nfet_1, (69.62,162.18), x_reflection=True))
bgr_coreandvrefbranch.add(gdstk.Reference(nfet_1, (71.28,162.18), x_reflection=True))
bgr_coreandvrefbranch.add(gdstk.Reference(nfet, (72.94,162.18), x_reflection=True))
bgr_coreandvrefbranch.add(gdstk.Reference(nfet, (74.6,162.18), x_reflection=True))
bgr_coreandvrefbranch.add(gdstk.Reference(nfet_1, (76.26,162.18), x_reflection=True))
bgr_coreandvrefbranch.add(gdstk.Reference(nfet_1, (77.92,162.18), x_reflection=True))
bgr_coreandvrefbranch.add(gdstk.Reference(nfet, (79.58,162.18), x_reflection=True))
bgr_coreandvrefbranch.add(gdstk.Reference(nfet, (81.24,162.18), x_reflection=True))
bgr_coreandvrefbranch.add(gdstk.Reference(nfet_1, (82.9,162.18), x_reflection=True))
bgr_coreandvrefbranch.add(gdstk.Reference(nfet_1, (84.56,162.18), x_reflection=True))
bgr_coreandvrefbranch.add(gdstk.Reference(nfet, (86.22,162.18), x_reflection=True))
bgr_coreandvrefbranch.add(gdstk.Reference(nfet, (74.6,166.635)))
bgr_coreandvrefbranch.add(gdstk.Reference(nfet_1, (76.26,166.635)))
bgr_coreandvrefbranch.add(gdstk.Reference(nfet_1, (77.92,166.635)))
bgr_coreandvrefbranch.add(gdstk.Reference(nfet, (79.58,166.635)))
bgr_coreandvrefbranch.add(gdstk.Reference(nfet, (81.24,166.635)))
bgr_coreandvrefbranch.add(gdstk.Reference(nfet_1, (82.9,166.635)))
bgr_coreandvrefbranch.add(gdstk.Reference(nfet_1, (84.56,166.635)))
bgr_coreandvrefbranch.add(gdstk.Reference(nfet, (86.22,166.635)))
bgr_coreandvrefbranch.add(gdstk.Reference(pfet_3, (78.58,187.65), x_reflection=True))
bgr_coreandvrefbranch.add(gdstk.Reference(nfet_1, (66.3,166.635)))
bgr_coreandvrefbranch.add(gdstk.Reference(pfet_3, (73.26,187.65), x_reflection=True))
bgr_coreandvrefbranch.add(gdstk.Reference(pfet_3, (75.92,187.65), x_reflection=True))
bgr_coreandvrefbranch.add(gdstk.Reference(res_poly_12, (62.855,165.295)))
bgr_coreandvrefbranch.add(gdstk.Reference(nfet_1, (69.62,166.635)))
bgr_coreandvrefbranch.add(gdstk.Reference(pfet_3, (81.24,187.65), x_reflection=True))
bgr_coreandvrefbranch.add(gdstk.Reference(pfet_3, (83.9,187.65), x_reflection=True))
bgr_coreandvrefbranch.add(gdstk.Reference(pfet_3, (83.9,176.595)))
bgr_coreandvrefbranch.add(gdstk.Reference(pfet_3, (81.24,176.595)))
bgr_coreandvrefbranch.add(gdstk.Reference(pfet_3, (78.58,176.595)))
bgr_coreandvrefbranch.add(gdstk.Reference(pfet_3, (75.92,176.595)))
bgr_coreandvrefbranch.add(gdstk.Reference(pfet_3, (73.26,176.595)))
bgr_coreandvrefbranch.add(gdstk.Reference(pnp_bjt, (71.12,125.625)))
bgr_coreandvrefbranch.add(gdstk.Reference(pnp_bjt, (78.22,125.625)))
bgr_coreandvrefbranch.add(gdstk.Reference(pnp_bjt, (78.22,139.825)))
bgr_coreandvrefbranch.add(gdstk.Reference(pnp_bjt, (71.12,118.525)))
bgr_coreandvrefbranch.add(gdstk.Reference(pnp_bjt, (64.02,118.525)))
bgr_coreandvrefbranch.add(gdstk.Reference(pnp_bjt, (71.12,132.725)))
bgr_coreandvrefbranch.add(gdstk.Reference(pnp_bjt, (64.02,125.625)))
bgr_coreandvrefbranch.add(gdstk.Reference(pnp_bjt, (64.02,132.725)))
bgr_coreandvrefbranch.add(gdstk.Reference(pnp_bjt, (64.02,139.825)))
bgr_coreandvrefbranch.add(gdstk.Reference(pnp_bjt, (78.22,132.725)))
bgr_coreandvrefbranch.add(gdstk.Reference(pnp_bjt, (78.22,118.525)))
bgr_coreandvrefbranch.add(gdstk.Reference(pnp_bjt, (71.12,139.825)))
bgr_coreandvrefbranch.add(gdstk.Reference(pfet, (113.185,145.135), rotation=pi))
bgr_coreandvrefbranch.add(gdstk.Reference(pnp_bjt, (92.42,139.825)))
bgr_coreandvrefbranch.add(gdstk.Reference(pfet, (113.185,118.995), rotation=pi, x_reflection=True))
bgr_coreandvrefbranch.add(gdstk.Reference(pfet, (109.865,130.435), rotation=pi))
bgr_coreandvrefbranch.add(gdstk.Reference(pfet, (111.525,130.435), rotation=pi))
bgr_coreandvrefbranch.add(gdstk.Reference(pfet, (106.545,118.995), rotation=pi, x_reflection=True))
bgr_coreandvrefbranch.add(gdstk.Reference(pnp_bjt, (92.42,125.625)))
bgr_coreandvrefbranch.add(gdstk.Reference(pnp_bjt, (92.42,132.725)))
bgr_coreandvrefbranch.add(gdstk.Reference(pfet, (114.845,118.995), rotation=pi, x_reflection=True))
bgr_coreandvrefbranch.add(gdstk.Reference(pfet, (111.525,118.995), rotation=pi, x_reflection=True))
bgr_coreandvrefbranch.add(gdstk.Reference(pfet, (114.845,133.695), rotation=pi, x_reflection=True))
bgr_coreandvrefbranch.add(gdstk.Reference(pfet, (108.205,118.995), rotation=pi, x_reflection=True))
bgr_coreandvrefbranch.add(gdstk.Reference(pfet, (109.865,118.995), rotation=pi, x_reflection=True))
bgr_coreandvrefbranch.add(gdstk.Reference(pfet, (113.185,130.435), rotation=pi))
bgr_coreandvrefbranch.add(gdstk.Reference(pnp_bjt, (92.42,118.525)))
bgr_coreandvrefbranch.add(gdstk.Reference(pfet, (109.865,145.135), rotation=pi))
bgr_coreandvrefbranch.add(gdstk.Reference(pfet, (108.205,145.135), rotation=pi))
bgr_coreandvrefbranch.add(gdstk.Reference(pfet, (109.865,133.695), rotation=pi, x_reflection=True))
bgr_coreandvrefbranch.add(gdstk.Reference(pfet, (111.525,145.135), rotation=pi))
bgr_coreandvrefbranch.add(gdstk.Reference(pfet, (114.845,130.435), rotation=pi))
bgr_coreandvrefbranch.add(gdstk.Reference(res_poly_2, (102.345,138.87)))
bgr_coreandvrefbranch.add(gdstk.Reference(pfet, (114.845,145.135), rotation=pi))
bgr_coreandvrefbranch.add(gdstk.Reference(pfet, (108.205,133.695), rotation=pi, x_reflection=True))
bgr_coreandvrefbranch.add(gdstk.Reference(pfet, (113.185,133.695), rotation=pi, x_reflection=True))
bgr_coreandvrefbranch.add(gdstk.Reference(pfet, (111.525,133.695), rotation=pi, x_reflection=True))
bgr_coreandvrefbranch.add(gdstk.Reference(pfet, (108.205,130.435), rotation=pi))
bgr_coreandvrefbranch.add(gdstk.Reference(guard_ring_gen_3, (105.155,132.89)))
bgr_coreandvrefbranch.add(gdstk.Reference(guard_ring_gen_2, (103.495,118.19)))
bgr_coreandvrefbranch.add(gdstk.Reference(res_poly_2, (102.345,147.22)))
bgr_coreandvrefbranch.add(gdstk.Reference(pfet, (106.545,130.435), rotation=pi))

lib.write_gds('BGR_coreAndVrefBranch.gds')
